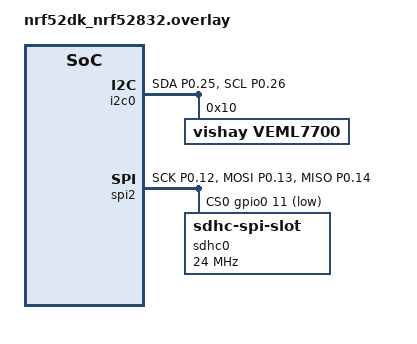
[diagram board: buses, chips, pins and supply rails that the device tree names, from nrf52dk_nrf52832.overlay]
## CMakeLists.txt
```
cmake_minimum_required(VERSION 3.20.0)
find_package(Zephyr REQUIRED HINTS $ENV{ZEPHYR_BASE})

project(cactuslux)

target_sources(app PRIVATE src/main.c)
```

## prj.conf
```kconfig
CONFIG_LOG_PRINTK=n
CONFIG_LOG_BACKEND_RTT=y
CONFIG_LOG=y
CONFIG_LOG_BACKEND_UART=y

CONFIG_I2C=y
CONFIG_SENSOR=y
CONFIG_GPIO=y

CONFIG_VEML7700=y
CONFIG_CBPRINTF_FP_SUPPORT=y
```

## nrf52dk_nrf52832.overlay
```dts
// To get started, press Ctrl+Space to bring up the completion menu and view the available nodes.

// You can also use the buttons in the sidebar to perform actions on nodes.
// Actions currently available include:

// * Enabling / disabling the node
// * Adding the bus to a bus
// * Removing the node
// * Connecting ADC channels

// For more help, browse the DeviceTree documentation at https://docs.zephyrproject.org/latest/guides/dts/index.html
// You can also visit the nRF DeviceTree extension documentation at https://nrfconnect.github.io/vscode-nrf-connect/devicetree/nrfdevicetree.html

&i2c0 {
    compatible = "nordic,nrf-twim";
    status = "okay";
    pinctrl-0 = <&i2c0_default>;
	pinctrl-1 = <&i2c0_sleep>;
	pinctrl-names = "default", "sleep";

    veml7700:veml7700@10{
        compatible = "vishay,veml7700";
        reg = < 0x10 >;
        label = "VEML7700";
    };
};

&pinctrl{
    i2c0_default: i2c0_default {
		group1 {
			psels = <NRF_PSEL(TWIM_SDA, 0, 25)>,
				<NRF_PSEL(TWIM_SCL, 0, 26)>;
		};
	};

	i2c0_sleep: i2c0_sleep {
		group1 {
			psels = <NRF_PSEL(TWIM_SDA, 0, 25)>,
				<NRF_PSEL(TWIM_SCL, 0, 26)>;
			low-power-enable;
		};
	};

	spi2_default: spi2_default {
		group1 {
			psels = <NRF_PSEL(SPIM_SCK, 0, 12)>,
				<NRF_PSEL(SPIM_MOSI, 0, 13)>,
				<NRF_PSEL(SPIM_MISO, 0, 14)>;
		};
	};

	spi2_sleep: spi2_sleep {
		group1 {
			psels = <NRF_PSEL(SPIM_SCK, 0, 12)>,
				<NRF_PSEL(SPIM_MOSI, 0, 13)>,
				<NRF_PSEL(SPIM_MISO, 0, 14)>;
			low-power-enable;
		};
	};
};

&spi0 {
    status = "disabled";
};

&spi2 {
	compatible = "nordic,nrf-spi";
	status = "okay";
	cs-gpios = <&gpio0 11 GPIO_ACTIVE_LOW>;
	pinctrl-0 = <&spi2_default>;
	pinctrl-1 = <&spi2_sleep>;

	sdhc0:sdhc@0 {
		compatible = "zephyr,sdhc-spi-slot";
		reg = <0x0>;
		status = "okay";
		spi-max-frequency = <24000000>;
		mmc {
			compatible = "zephyr,sdmmc-disk";
			status = "okay";
			//disk-name = "SD"; //only for 3.7.0 and beyond
		};
	};

	pinctrl-names = "default", "sleep";
};
```

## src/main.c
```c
#include <zephyr/kernel.h>
#include <zephyr/drivers/gpio.h>
#include <zephyr/drivers/sensor.h>
#include <zephyr/drivers/sensor/veml7700.h> //required for enums
#include <zephyr/drivers/i2c.h>
#include <zephyr/device.h>
#include <zephyr/storage/disk_access.h>
#include <zephyr/logging/log.h>
#include <zephyr/fs/fs.h>
#include <ff.h>
#include <math.h>

// Defines for Lux sensor
#define I2C0_NODE DT_NODELABEL(veml7700)

// Defines for SD Card
#define MAX_PATH 128
#define SOME_FILE_NAME "data.txt"
#define SOME_DIR_NAME "data"
#define SOME_REQUIRED_LEN MAX(sizeof(SOME_FILE_NAME), sizeof(SOME_DIR_NAME))

// Setup for SD Card with fatfs library
static const char *disk_mount_pt = "/SD:";
LOG_MODULE_REGISTER(main);
static int lsdir(const char *path);

static FATFS fat_fs;
/* mounting info */
static struct fs_mount_t mp = {
	.type = FS_FATFS,
	.fs_data = &fat_fs,
};

typedef struct {
	int32_t lux;
} SensorData;

static const struct device *get_veml7700_device(void)
{  
    /* You can use either of these to get the device */
    const struct device *dev = DEVICE_DT_GET(DT_INST(0,vishay_veml7700));
    //const struct device *const dev = DEVICE_DT_GET_ANY(st_lsm6dsl);

    //veml7700_init(dev);
    if (dev == NULL) {
        /* No such node, or the node does not have status "okay". */
        printk("\nError: no device found.\n");
        return NULL;
    }

    if (!device_is_ready(dev)) {
        printk("\nError: Device \"%s\" is not ready; "
               "check the driver initialization logs for errors.\n",
               dev->name);
        return NULL;
    }

    printk("Found device \"%s\", getting sensor data\n", dev->name);
    return dev;
}

/* Function to create data directory and file if it doesn't exist */
static bool create_directory(const char *base_path) {
	char path[MAX_PATH];
	struct fs_file_t file;
	int base = strlen(base_path);

	fs_file_t_init(&file);

	if (base >= (sizeof(path) - SOME_REQUIRED_LEN)) {
		LOG_ERR("Not enough concatenation buffer to create file paths");
		return false;
	}

	strncpy(path, base_path, sizeof(path)); //creates the base path

	path[base++] = '/';
	path[base] = 0; //null terminates after the "/"
	strcat(&path[base], SOME_DIR_NAME); //Adds the directory name
	printk("Base path before directory created: %s\n", path);

	if (fs_mkdir(path) == -EEXIST){
		LOG_ERR("Failed to create dir because already exists, %s", path);
	}
	else {
		LOG_ERR("Failed to create dir, %s", path);
	}

	//Update the path to where the file is created
	base += strlen(SOME_DIR_NAME);
	path[base++] = '/';
	path[base] = 0;
	strcat(&path[base], SOME_FILE_NAME);
	printk("Base path after directory created: %s\n", path);

	if (fs_open(&file, path, FS_O_CREATE) != 0) {
		LOG_ERR("Failed to create file %s", path);
		return false;
	}
	fs_close(&file);

	return true;
}

/* Function to write data to directory */
static bool write_data_to_sd(const char *base_path, SensorData *data) {
	struct fs_file_t file;
	fs_file_t_init(&file);
	int buffer_size = 64;
	char logging_data[buffer_size];
	
	//Generate the path for writing the data based on macros for filenames
	char path[MAX_PATH];
	int base = strlen(base_path);
	strncpy(path, base_path, sizeof(path)); //creates the base path
	path[base++] = '/';
	path[base] = 0; //null terminates after the "/"
	strcat(&path[base], SOME_DIR_NAME); //Adds the directory name
	base += strlen(SOME_DIR_NAME);
	path[base++] = '/';
	path[base] = 0;
	strcat(&path[base], SOME_FILE_NAME);

	printk("The lux inside the write function is: %"PRId32"\n", data->lux);
	snprintf(logging_data, buffer_size, "Test, %"PRId32"\n", data->lux); //copy the sensor data into the buffer

	//printk("The size of sizeof(logging_data) is: %zu, where the size of strlen() is: %zu\n", sizeof(logging_data), strlen(logging_data));

	// Open up the SD Card
	if (fs_open(&file, path, FS_O_WRITE | FS_O_APPEND) != 0) {
		LOG_ERR("Failed to create file within write function %s\n", path);
		return false;
	}
	else {
		fs_write(&file, logging_data, strlen(logging_data));
		printk("Successfully opened up file within write function in path: %s\n", path);
		fs_close(&file);
	}
	return true;
}

int main(void)
{
	//retrieve the API-specific device structure
	const struct device *dev = get_veml7700_device();

	//get the device for the SHT45
	const struct device *sht45_dev = DEVICE_DT_GET(DT_INST(0,sensirion_sht4x));
	if (sht45_dev == NULL) {
		/* No such node, or the node does not have status "okay". */
		printk("\nError: no sht45 found.\n");
	}
	if (!device_is_ready(dev)) {
		printk("\nError: Device \"%s\" is not ready; "
				"check the driver initialization logs for errors.\n",
				dev->name);
	}
	printk("Found device \"%s\", getting sensor data\n", sht45_dev->name);

	bool start_flag = false;
	double corrected_lux;
	//coefficients for correction function
	double coeff_a = pow(6.0135, -13);
	double coeff_b = pow(9.3924, -9);
	double coeff_c = pow(8.1488, -5);
	double coeff_d = 1.0023;
	printk("The coefficients for the correction formula are:\ta: %.15lf, b: %.15lf, c: %.15lf, d: %.15lf\n", coeff_a, coeff_b, coeff_c, coeff_d);

	/* raw disk i/o */
	do {
		static const char *disk_pdrv = "SD";
		uint64_t memory_size_mb;
		uint32_t block_count;
		uint32_t block_size;

		if (disk_access_init(disk_pdrv) != 0) {
			LOG_ERR("Storage init ERROR!");
			break;
		}

		if (disk_access_ioctl(disk_pdrv,
				DISK_IOCTL_GET_SECTOR_COUNT, &block_count)) {
			LOG_ERR("Unable to get sector count");
			break;
		}
		LOG_INF("Block count %u", block_count);

		if (disk_access_ioctl(disk_pdrv,
				DISK_IOCTL_GET_SECTOR_SIZE, &block_size)) {
			LOG_ERR("Unable to get sector size");
			break;
		}
		printk("Sector size %u\n", block_size);

		memory_size_mb = (uint64_t)block_count * block_size;
		printk("Memory Size(MB) %u\n", (uint32_t)(memory_size_mb >> 20));
	} while (0);

	//define the mounting point
	mp.mnt_point = disk_mount_pt;

	// define sensor_value struct
	static struct sensor_value lux;    
	static struct sensor_value gain;
	static struct sensor_value it;
	gain.val1 = VEML7700_ALS_GAIN_1_8; //gain of 1/8
	it.val1 = VEML7700_ALS_IT_25; //25 ms integration time
	SensorData sensor_data;

	// sensor readings for sht45
	static struct sensor_value temp;
	static struct sensor_value rh;

	//configure the sensor registers
	sensor_attr_set(dev, SENSOR_CHAN_LIGHT, SENSOR_ATTR_VEML7700_GAIN, &gain);
	printk("The gain attribute has been set to %d.\n", gain.val1);
	sensor_attr_set(dev, SENSOR_CHAN_LIGHT, SENSOR_ATTR_VEML7700_ITIME, &it);
	printk("The integration time has been set to %d\n", it.val1);
	//sensor_attr_get(dev, SENSOR_CHAN_LIGHT, SENSOR_ATTR_VEML7700_ITIME, &it2);
	//printk("The integration time returned is %d\n", it2.val1);

	// while loop for data logging
	while (1){
		int res = fs_mount(&mp);
		if (res == FR_OK) {
			printk("Disk mounted.\n");
			if (start_flag == false) { //do this once only
				if (lsdir(disk_mount_pt) < 0) {
					LOG_ERR("Error opening directory using lsdir()\n");
				}
				if (create_directory(disk_mount_pt)) {
					printk("create_directory() returned true\n");
				}
				start_flag = true;
			}
		}
		else {
			printk("Error mounting disk.\n");
		}

		sensor_sample_fetch_chan(dev, SENSOR_CHAN_LIGHT);
        sensor_channel_get(dev, SENSOR_CHAN_LIGHT, &lux);
		sensor_data.lux = lux.val1;
		corrected_lux = coeff_a * pow(lux.val1, 4) - coeff_b * pow(lux.val1, 3) + coeff_c * pow(lux.val1, 2) + coeff_d * lux.val1;

		sensor_sample_fetch_chan(sht45_dev, SENSOR_CHAN_AMBIENT_TEMP);
		sensor_channel_get(sht45_dev, SENSOR_CHAN_AMBIENT_TEMP, &temp);
		sensor_sample_fetch_chan(sht45_dev, SENSOR_CHAN_HUMIDITY);
		sensor_channel_get(sht45_dev, SENSOR_CHAN_HUMIDITY, &rh);

		if (write_data_to_sd(disk_mount_pt, &sensor_data)){
			printk("Data successfully written to file\n");
		}
        printk("lux: %d.%03d\n",lux.val1, lux.val2);
		printk("temp: %d.%03d\n",temp.val1, temp.val2);
		printk("rh: %d.%03d\n",rh.val1, rh.val2);

		fs_unmount(&mp);//unmount the filesystem for safety
		printk("Filesystem unmounted\n\n");
        	k_sleep(K_MSEC(5000));
	}

	return 0;
}

static int lsdir(const char *path)
{
	int res;
	struct fs_dir_t dirp;
	static struct fs_dirent entry;
	int count = 0;

	fs_dir_t_init(&dirp);

	/* Verify fs_opendir() */
	res = fs_opendir(&dirp, path);
	if (res) {
		printk("Error opening dir %s [%d]\n", path, res);
		return res;
	}

	printk("\nListing dir %s ...\n", path);
	for (;;) {
		/* Verify fs_readdir() */
		res = fs_readdir(&dirp, &entry);

		/* entry.name[0] == 0 means end-of-dir */
		if (res || entry.name[0] == 0) {
			break;
		}

		if (entry.type == FS_DIR_ENTRY_DIR) {
			printk("[DIR ] %s\n", entry.name);
		} else {
			printk("[FILE] %s (size = %zu)\n",
				entry.name, entry.size);
		}
		count++;
	}

	/* Verify fs_closedir() */
	fs_closedir(&dirp);
	if (res == 0) {
		res = count;
	}

	return res;
}
```

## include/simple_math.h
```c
// simple_math.h
#ifndef SIMPLE_MATH_H
#define SIMPLE_MATH_H

int add(int a, int b);
int subtract(int a, int b);

#endif // SIMPLE_MATH_H
```
